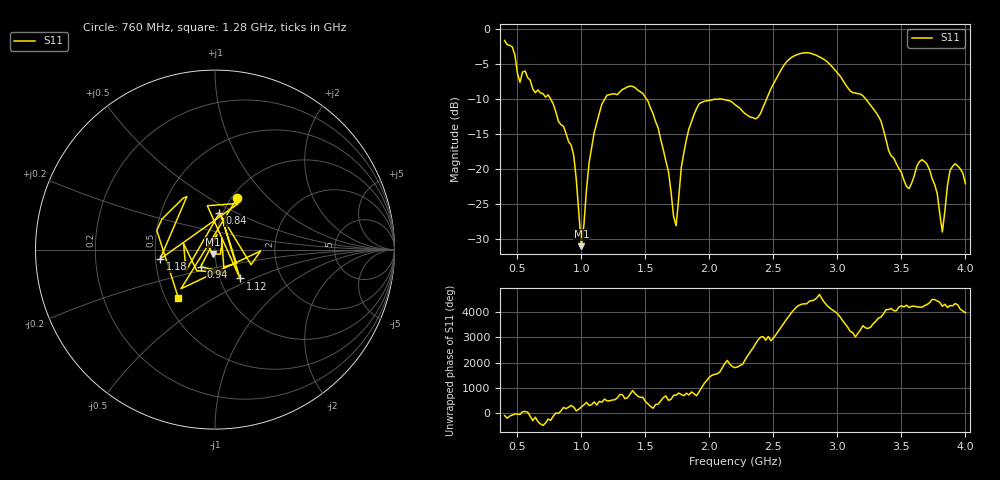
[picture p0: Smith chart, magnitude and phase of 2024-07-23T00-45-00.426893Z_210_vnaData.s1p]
!Created with skrf (http://scikit-rf.org).
# Hz S RI R 50.0
!freq ReS11 ImS11
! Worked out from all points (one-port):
!   181 points, 400 MHz to 4 GHz, reference 50 ohm
!   lowest |S11| = -31.1 dB at 1 GHz (marker M1), VSWR 1.06, Z = 48.6 - j2.36 ohm
!   |S11| at or under -10 dB: 757.6 MHz to 1.185 GHz (427.4 MHz wide, 44 % of centre); 1.506 GHz to 2.447 GHz (941.2 MHz wide, 47.6 % of centre); 3.219 GHz to end of sweep
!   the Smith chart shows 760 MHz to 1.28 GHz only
!   S11 on the Smith chart (normalised r, x): 760 MHz: 1.06, +0.68; 840 MHz: 0.96, +0.41; 940 MHz: 0.84, -0.16; 1.12 GHz: 1.25, -0.42; 1.18 GHz: 0.53, -0.06; 1.28 GHz: 0.58, -0.35
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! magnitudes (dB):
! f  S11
! 400 MHz  -1.7
! 520 MHz  -7.7
! 760 MHz  -10.1
! 840 MHz  -13.7
! 860 MHz  -14.0
! 940 MHz  -18.1
! 1 GHz  -31.1
! 1.06 GHz  -19.2
! 1.12 GHz  -13.4
! 1.18 GHz  -10.2
! 1.28 GHz  -9.4
! 1.3 GHz  -9.1
! 1.52 GHz  -10.4
! 1.68 GHz  -20.4
! 1.74 GHz  -28.2
! 1.76 GHz  -24.2
! 1.82 GHz  -15.9
! 1.92 GHz  -10.7
! 2.2 GHz  -10.9
! 2.38 GHz  -12.7
! 2.66 GHz  -3.9
! 3.1 GHz  -8.9
! 3.32 GHz  -12.5
! 3.56 GHz  -22.9
! 3.7 GHz  -19.4
! 3.82 GHz  -29.1
! 3.88 GHz  -20.3
! 4 GHz  -22.2
